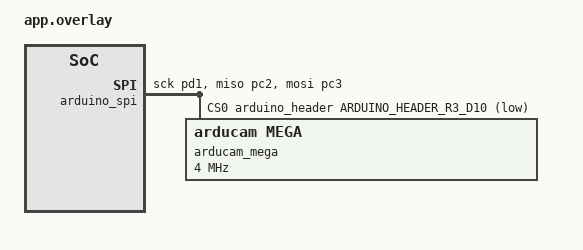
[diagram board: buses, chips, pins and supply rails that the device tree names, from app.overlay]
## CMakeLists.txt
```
cmake_minimum_required(VERSION 3.20.0)
find_package(Zephyr REQUIRED HINTS $ENV{ZEPHYR_BASE})
project(unoq-spicam)

target_sources(app PRIVATE src/main.c)
```

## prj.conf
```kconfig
CONFIG_VIDEO=y
CONFIG_SPI=y
CONFIG_VIDEO_ARDUCAM_MEGA=y
CONFIG_LOG=y
CONFIG_PRINTK=y

# Video buffer pool configuration (320x240 RGB565 is 153600 bytes. Heap size set to 320KB for 2 buffers)
CONFIG_VIDEO_BUFFER_POOL_HEAP_SIZE=327680
CONFIG_VIDEO_BUFFER_POOL_NUM_MAX=4
```

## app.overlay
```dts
#include <zephyr/dt-bindings/gpio/arduino-header-r3.h>
#include <zephyr/dt-bindings/gpio/gpio.h>

/ {
	chosen {
		zephyr,camera = &arducam_mega;
	};
};

&arduino_spi {
	status = "okay";
	/* Override to use physical pin configuration for JSPI / ICSP connector */
	pinctrl-0 = <&spi2_sck_pd1 &spi2_miso_pc2 &spi2_mosi_pc3>;
	pinctrl-names = "default";

	cs-gpios = <&arduino_header ARDUINO_HEADER_R3_D10 GPIO_ACTIVE_LOW>;

	arducam_mega: arducam_mega@0 {
		compatible = "arducam,mega";
		reg = <0>;
		spi-max-frequency = <4000000>;
		status = "okay";
	};
};
```

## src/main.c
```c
#include <zephyr/kernel.h>
#include <zephyr/device.h>
#include <zephyr/drivers/video.h>
#include <zephyr/drivers/gpio.h>
#include <string.h>

#define LED0_NODE DT_ALIAS(led0)
#define LED1_NODE DT_ALIAS(led1)

static const struct gpio_dt_spec led_green = GPIO_DT_SPEC_GET(LED0_NODE, gpios);
static const struct gpio_dt_spec led_red = GPIO_DT_SPEC_GET(LED1_NODE, gpios);

/* QVGA (320x240) - Standard resolution physically supported by the camera keeping aspect ratio */
#define FRAME_WIDTH 320
#define FRAME_HEIGHT 240
#define PIXEL_FORMAT VIDEO_PIX_FMT_RGB565
#define IMAGE_SIZE (FRAME_WIDTH * FRAME_HEIGHT * 2) /* 320 * 240 * 2 = 153600 bytes */

/* Static RAM buffer for direct memory dump via OpenOCD */
uint8_t image_buffer[IMAGE_SIZE] __aligned(4);

int main(void)
{
	const struct device *const camera_dev = DEVICE_DT_GET(DT_CHOSEN(zephyr_camera));
	int ret;

	printk("\n=== Arducam Mega 320x240 QVGA Dump Test ===\n");

	/* Initialize LED pins */
	if (device_is_ready(led_green.port)) {
		gpio_pin_configure_dt(&led_green, GPIO_OUTPUT_INACTIVE);
	}
	if (device_is_ready(led_red.port)) {
		gpio_pin_configure_dt(&led_red, GPIO_OUTPUT_INACTIVE);
	}

	if (!device_is_ready(camera_dev)) {
		printk("Camera device is not ready!\n");
		if (device_is_ready(led_red.port)) {
			gpio_pin_set_dt(&led_red, 1);
		}
		return -1;
	}
	printk("Camera device %s is ready.\n", camera_dev->name);

	/* Print the address of the static image buffer (parseable by debugger scripts) */
	printk("IMAGE_BUF_ADDR: %p\n", image_buffer);

	/* Configure video format (320x240 RGB565) */
	struct video_format fmt = {
		.type = VIDEO_BUF_TYPE_OUTPUT,
		.pixelformat = PIXEL_FORMAT,
		.width = FRAME_WIDTH,
		.height = FRAME_HEIGHT,
		.pitch = FRAME_WIDTH * 2,
	};

	ret = video_set_format(camera_dev, &fmt);
	if (ret < 0) {
		printk("Failed to set video format: %d\n", ret);
		if (device_is_ready(led_red.port)) {
			gpio_pin_set_dt(&led_red, 1);
		}
		return ret;
	}
	printk("Set format successfully: 320x240 RGB565 (size: %u)\n", fmt.size);

	/* Allocate and enqueue video buffers */
	struct video_buffer *vbuf;
	for (int i = 0; i < 2; i++) {
		vbuf = video_buffer_aligned_alloc(fmt.size, 4, K_NO_WAIT);
		if (vbuf == NULL) {
			printk("Unable to allocate video buffer\n");
			if (device_is_ready(led_red.port)) {
				gpio_pin_set_dt(&led_red, 1);
			}
			return -ENOMEM;
		}
		vbuf->type = VIDEO_BUF_TYPE_OUTPUT;
		ret = video_enqueue(camera_dev, vbuf);
		if (ret < 0) {
			printk("Failed to enqueue video buffer: %d\n", ret);
			return ret;
		}
	}

	/* Start video stream */
	ret = video_stream_start(camera_dev, VIDEO_BUF_TYPE_OUTPUT);
	if (ret < 0) {
		printk("Failed to start video stream: %d\n", ret);
		return ret;
	}
	printk("Video stream started. Capturing loop starting...\n");

	while (1) {
		struct video_buffer *captured_buf;

		/* Dequeue frame (wait for capture completion) */
		ret = video_dequeue(camera_dev, &captured_buf, K_FOREVER);
		if (ret < 0) {
			printk("Failed to dequeue video buffer: %d\n", ret);
			k_sleep(K_MSEC(1000));
			continue;
		}

		/* Indicator for successful capture (toggle green LED) */
		if (device_is_ready(led_green.port)) {
			gpio_pin_toggle_dt(&led_green);
		}

		/* Copy captured data to the static RAM buffer */
		if (captured_buf->bytesused <= IMAGE_SIZE) {
			memcpy(image_buffer, captured_buf->buffer, captured_buf->bytesused);
			printk("Captured Frame copied to RAM! Size: %u bytes\n", captured_buf->bytesused);
		} else {
			printk("Warning: captured frame size (%u) exceeds buffer size\n", captured_buf->bytesused);
		}

		/* Re-enqueue the buffer for the next frame */
		ret = video_enqueue(camera_dev, captured_buf);
		if (ret < 0) {
			printk("Failed to re-enqueue buffer: %d\n", ret);
		}

		/* Wait for 3 seconds before the next capture */
		k_sleep(K_MSEC(3000));
	}

	return 0;
}
```
